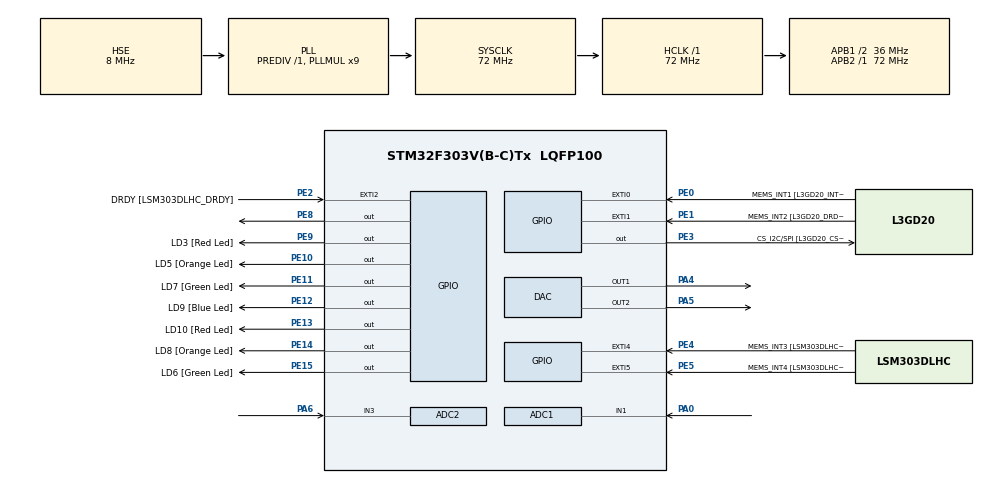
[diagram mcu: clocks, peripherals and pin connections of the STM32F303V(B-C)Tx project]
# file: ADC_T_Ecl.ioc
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ADC1.Channel-21\#ChannelRegularConversion=ADC_CHANNEL_1
ADC1.ClockPrescaler=ADC_CLOCK_ASYNC_DIV1
ADC1.ContinuousConvMode=DISABLE
ADC1.DMAContinuousRequests=ENABLE
ADC1.DataAlign=ADC_DATAALIGN_RIGHT
ADC1.DiscontinuousConvMode=DISABLE
ADC1.EOCSelection=ADC_EOC_SINGLE_CONV
ADC1.EnableAnalogWatchDog1=false
ADC1.EnableAnalogWatchDog2=false
ADC1.EnableAnalogWatchDog3=false
ADC1.EnableInjectedConversion=DISABLE
ADC1.EnableRegularConversion=ENABLE
ADC1.ExternalTrigConv=ADC_EXTERNALTRIGCONV_T1_TRGO
ADC1.ExternalTrigConvEdge=ADC_EXTERNALTRIGCONVEDGE_RISING
ADC1.LowPowerAutoWait=DISABLE
ADC1.Mode=ADC_DUALMODE_REGSIMULT
ADC1.NbrOfConversion=1
ADC1.NbrOfConversionFlag=1
ADC1.Offset-21\#ChannelRegularConversion=0
ADC1.OffsetNumber-21\#ChannelRegularConversion=ADC_OFFSET_NONE
ADC1.Overrun=ADC_OVR_DATA_OVERWRITTEN
ADC1.Rank-21\#ChannelRegularConversion=1
ADC1.Resolution=ADC_RESOLUTION_12B
ADC1.SamplingTime-21\#ChannelRegularConversion=ADC_SAMPLETIME_1CYCLE_5
ADC1.ScanConvMode=ADC_SCAN_DISABLE
ADC1.master=1
ADC2.Channel-4\#ChannelRegularConversion=ADC_CHANNEL_3
ADC2.ContinuousConvMode=DISABLE
ADC2.DMAContinuousRequests=DISABLE
ADC2.DataAlign=ADC_DATAALIGN_RIGHT
ADC2.DiscontinuousConvMode=DISABLE
ADC2.EOCSelection=ADC_EOC_SINGLE_CONV
ADC2.EnableAnalogWatchDog1=false
ADC2.EnableAnalogWatchDog2=false
ADC2.EnableAnalogWatchDog3=false
ADC2.EnableInjectedConversion=ENABLE
ADC2.EnableRegularConversion=ENABLE
ADC2.InjNumberOfConversion=0
ADC2.LowPowerAutoWait=DISABLE
ADC2.Mode=ADC_DUALMODE_REGSIMULT
ADC2.NbrOfConversion=1
ADC2.NbrOfConversionFlag=1
ADC2.Offset-4\#ChannelRegularConversion=0
ADC2.OffsetNumber-4\#ChannelRegularConversion=ADC_OFFSET_NONE
ADC2.Overrun=ADC_OVR_DATA_OVERWRITTEN
ADC2.Rank-4\#ChannelRegularConversion=1
ADC2.Resolution=ADC_RESOLUTION_12B
ADC2.SamplingTime-4\#ChannelRegularConversion=ADC_SAMPLETIME_1CYCLE_5
ADC2.ScanConvMode=ADC_SCAN_DISABLE
DAC.DAC_Trigger=DAC_TRIGGER_T6_TRGO
DAC.DAC_Trigger2=DAC_TRIGGER_T6_TRGO
Dma.ADC1.2.Direction=DMA_PERIPH_TO_MEMORY
Dma.ADC1.2.Instance=DMA1_Channel1
Dma.ADC1.2.MemDataAlignment=DMA_MDATAALIGN_WORD
Dma.ADC1.2.MemInc=DMA_MINC_ENABLE
Dma.ADC1.2.Mode=DMA_CIRCULAR
Dma.ADC1.2.PeriphDataAlignment=DMA_PDATAALIGN_WORD
Dma.ADC1.2.PeriphInc=DMA_PINC_DISABLE
Dma.ADC1.2.Priority=DMA_PRIORITY_HIGH
Dma.DAC_CH1.0.Direction=DMA_MEMORY_TO_PERIPH
Dma.DAC_CH1.0.Instance=DMA1_Channel3
Dma.DAC_CH1.0.MemDataAlignment=DMA_MDATAALIGN_HALFWORD
Dma.DAC_CH1.0.MemInc=DMA_MINC_ENABLE
Dma.DAC_CH1.0.Mode=DMA_CIRCULAR
Dma.DAC_CH1.0.PeriphDataAlignment=DMA_PDATAALIGN_HALFWORD
Dma.DAC_CH1.0.PeriphInc=DMA_PINC_DISABLE
Dma.DAC_CH1.0.Priority=DMA_PRIORITY_LOW
Dma.DAC_CH2.1.Direction=DMA_MEMORY_TO_PERIPH
Dma.DAC_CH2.1.Instance=DMA1_Channel4
Dma.DAC_CH2.1.MemDataAlignment=DMA_MDATAALIGN_HALFWORD
Dma.DAC_CH2.1.MemInc=DMA_MINC_ENABLE
Dma.DAC_CH2.1.Mode=DMA_CIRCULAR
Dma.DAC_CH2.1.PeriphDataAlignment=DMA_PDATAALIGN_HALFWORD
Dma.DAC_CH2.1.PeriphInc=DMA_PINC_DISABLE
Dma.DAC_CH2.1.Priority=DMA_PRIORITY_LOW
Dma.Request0=DAC_CH1
Dma.Request1=DAC_CH2
Dma.Request2=ADC1
Mcu.Family=STM32F3
Mcu.Name=STM32F303V(B-C)Tx
Mcu.Package=LQFP100
NVIC.ADC1_2_IRQn=true\:0\:0\:false\:false\:true\:true
NVIC.DMA1_Channel1_IRQn=true\:0\:0\:false\:false\:true\:false
NVIC.DMA1_Channel3_IRQn=true\:0\:0\:false\:false\:true\:false
NVIC.DMA1_Channel4_IRQn=true\:0\:0\:false\:false\:true\:false
NVIC.PriorityGroup=NVIC_PRIORITYGROUP_0
PA0.Mode=IN1-Single-Ended
PA0.Signal=ADC1_IN1
PA11.GPIO_Label=DM
PA11.Signal=USB_DM
PA12.GPIO_Label=DP
PA12.Signal=USB_DP
PA13.GPIO_Label=SWDIO
PA13.Mode=Serial_Wire
PA13.Signal=SYS_JTMS-SWDIO
PA14.GPIO_Label=SWCLK
PA14.Mode=Serial_Wire
PA14.Signal=SYS_JTCK-SWCLK
PA4.Signal=COMP_DAC1_group
PA5.Signal=COMP_DAC2_group
PA6.Mode=IN3-Single-Ended
PA6.Signal=ADC2_IN3
PB3.GPIO_Label=SWO
PB3.Signal=SYS_JTDO-TRACESWO
PB6.GPIO_Label=I2C1_SCL [LSM303DLHC_SCL]
PB6.Signal=I2C1_SCL
PB7.GPIO_Label=I2C1_SDA [LSM303DLHC_SDA]
PB7.Signal=I2C1_SDA
PC14-OSC32_IN.GPIO_Label=OSC32_IN
PC14-OSC32_IN.Signal=RCC_OSC32_IN
PC15-OSC32_OUT.GPIO_Label=OSC32_OUT
PC15-OSC32_OUT.Signal=RCC_OSC32_OUT
PE0.GPIO_Label=MEMS_INT1 [L3GD20_INT1]
PE0.GPIO_ModeDefaultEXTI=GPIO_MODE_EVT_RISING
PE0.Signal=GPXTI0
PE1.GPIO_Label=MEMS_INT2 [L3GD20_DRDY/INT2]
PE1.GPIO_ModeDefaultEXTI=GPIO_MODE_EVT_RISING
PE1.Signal=GPXTI1
PE10.GPIO_Label=LD5 [Orange Led]
PE10.Signal=GPIO_Output
PE11.GPIO_Label=LD7 [Green Led]
PE11.Signal=GPIO_Output
PE12.GPIO_Label=LD9 [Blue Led]
PE12.Signal=GPIO_Output
PE13.GPIO_Label=LD10 [Red Led]
PE13.Signal=GPIO_Output
PE14.GPIO_Label=LD8 [Orange Led]
PE14.Signal=GPIO_Output
PE15.GPIO_Label=LD6 [Green Led]
PE15.Signal=GPIO_Output
PE2.GPIO_Label=DRDY [LSM303DLHC_DRDY]
PE2.GPIO_ModeDefaultEXTI=GPIO_MODE_EVT_RISING
PE2.Signal=GPXTI2
PE3.GPIO_Label=CS_I2C/SPI [L3GD20_CS_I2C/SPI]
PE3.Signal=GPIO_Output
PE4.GPIO_Label=MEMS_INT3 [LSM303DLHC_INT1]
PE4.GPIO_ModeDefaultEXTI=GPIO_MODE_EVT_RISING
PE4.Signal=GPXTI4
PE5.GPIO_Label=MEMS_INT4 [LSM303DLHC_INT2]
PE5.GPIO_ModeDefaultEXTI=GPIO_MODE_EVT_RISING
PE5.Signal=GPXTI5
PE8.GPIO_Speed=GPIO_SPEED_FREQ_HIGH
PE8.Signal=GPIO_Output
PE9.GPIO_Label=LD3 [Red Led]
PE9.Signal=GPIO_Output
PF0-OSC_IN.GPIO_Label=OSC_IN
PF0-OSC_IN.Mode=HSE-External-Clock-Source
PF0-OSC_IN.Signal=RCC_OSC_IN
PF1-OSC_OUT.GPIO_Label=OSC_OUT
PF1-OSC_OUT.Signal=RCC_OSC_OUT
ProjectManager.HeapSize=0x200
ProjectManager.StackSize=0x400
ProjectManager.TargetToolchain=SW4STM32
RCC.AHBFreq_Value=72000000
RCC.APB1CLKDivider=RCC_HCLK_DIV2
RCC.APB1Freq_Value=36000000
RCC.APB1TimFreq_Value=72000000
RCC.APB2Freq_Value=72000000
RCC.APB2TimFreq_Value=72000000
RCC.CortexFreq_Value=72000000
RCC.HCLKFreq_Value=72000000
RCC.HSE_VALUE=8000000
RCC.HSI_VALUE=8000000
RCC.LSE_VALUE=32768
RCC.PLLMUL=RCC_PLL_MUL9
RCC.PLLSourceVirtual=RCC_PLLSOURCE_HSE
RCC.PRESCALERUSB=RCC_USBCLKSOURCE_PLL_DIV1_5
RCC.SYSCLKFreq_VALUE=72000000
RCC.SYSCLKSourceVirtual=RCC_SYSCLKSOURCE_PLLCLK
RCC.USBFreq_Value=48000000
SH.COMP_DAC1_group.0=DAC_OUT1,DAC_OUT1
SH.COMP_DAC2_group.0=DAC_OUT2,Enable_DAC_OUT2
TIM1.Period=7190
TIM1.TIM_MasterOutputTrigger=TIM_TRGO_UPDATE
TIM6.Period=112
TIM6.TIM_MasterOutputTrigger=TIM_TRGO_UPDATE
VP_TIM1_VS_ClockSourceINT.Mode=Internal
VP_TIM6_VS_ClockSourceINT.Mode=Enable_Timer
board=STM32F3DISCOVERY

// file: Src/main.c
/**
  ******************************************************************************
  * @file           : main.c
  * @brief          : Main program body
  ******************************************************************************
  ** This notice applies to any and all portions of this file
  * that are not between comment pairs USER CODE BEGIN and
  * USER CODE END. Other portions of this file, whether
  * inserted by the user or by software development tools
  * are owned by their respective copyright owners.
  *
  * COPYRIGHT(c) 2018 STMicroelectronics
  *
  * Redistribution and use in source and binary forms, with or without modification,
  * are permitted provided that the following conditions are met:
  *   1. Redistributions of source code must retain the above copyright notice,
  *      this list of conditions and the following disclaimer.
  *   2. Redistributions in binary form must reproduce the above copyright notice,
  *      this list of conditions and the following disclaimer in the documentation
  *      and/or other materials provided with the distribution.
  *   3. Neither the name of STMicroelectronics nor the names of its contributors
  *      may be used to endorse or promote products derived from this software
  *      without specific prior written permission.
  *
  * THIS SOFTWARE IS PROVIDED BY THE COPYRIGHT HOLDERS AND CONTRIBUTORS "AS IS"
  * AND ANY EXPRESS OR IMPLIED WARRANTIES, INCLUDING, BUT NOT LIMITED TO, THE
  * IMPLIED WARRANTIES OF MERCHANTABILITY AND FITNESS FOR A PARTICULAR PURPOSE ARE
  * DISCLAIMED. IN NO EVENT SHALL THE COPYRIGHT HOLDER OR CONTRIBUTORS BE LIABLE
  * FOR ANY DIRECT, INDIRECT, INCIDENTAL, SPECIAL, EXEMPLARY, OR CONSEQUENTIAL
  * DAMAGES (INCLUDING, BUT NOT LIMITED TO, PROCUREMENT OF SUBSTITUTE GOODS OR
  * SERVICES; LOSS OF USE, DATA, OR PROFITS; OR BUSINESS INTERRUPTION) HOWEVER
  * CAUSED AND ON ANY THEORY OF LIABILITY, WHETHER IN CONTRACT, STRICT LIABILITY,
  * OR TORT (INCLUDING NEGLIGENCE OR OTHERWISE) ARISING IN ANY WAY OUT OF THE USE
  * OF THIS SOFTWARE, EVEN IF ADVISED OF THE POSSIBILITY OF SUCH DAMAGE.
  *
  ******************************************************************************
  */
#include "main.h"
#include "stm32f3xx_hal.h"
#include "adc.h"
#include "dac.h"
#include "dma.h"
#include "tim.h"
#include "gpio.h"

/* USER CODE BEGIN Includes */
#define ARM_MATH_CM4
#include<arm_math.h>
/* USER CODE END Includes */

/* USER CODE BEGIN PV */
/* Private variables ---------------------------------------------------------*/

/* USER CODE END PV */

void SystemClock_Config(void);

/* USER CODE BEGIN PFP */
/* Private function prototypes -----------------------------------------------*/
#define DACSAMPLE 32
#define ADCDAMPLE 100
void Set_DAC_Freq(uint32_t );
void Set_ADC_Freq(uint32_t );
void Sin_Gen(void);
uint16_t NUM_SAMPLES_DAC =DACSAMPLE;
uint16_t NUM_SAMPLES_ADC =ADCDAMPLE;

/* USER CODE END PFP */

/* USER CODE BEGIN 0 */
uint32_t ADC1ConvertedValues[ADCDAMPLE];
uint16_t Sine_Lut[DACSAMPLE], Sine_Lut_180[DACSAMPLE];
/* USER CODE END 0 */

int main(void)
{

  /* MCU Configuration----------------------------------------------------------*/

  /* Reset of all peripherals, Initializes the Flash interface and the Systick. */
  HAL_Init();

  /* USER CODE BEGIN Init */
  Sin_Gen();//Generates Sine wave

  /* USER CODE END Init */

  /* Configure the system clock */
  SystemClock_Config();

  /* Initialize all configured peripherals */
  MX_GPIO_Init();
  MX_DMA_Init();
  MX_DAC_Init();
  MX_TIM6_Init();
  MX_ADC1_Init();
  MX_ADC2_Init();
  MX_TIM1_Init();

  /* USER CODE BEGIN 2 */
  Set_DAC_Freq(15000);
  Set_ADC_Freq(100000);
  //HAL_ADC_Start_DMA(&hadc1, (uint32_t*)ADC1ConvertedValues, 2048);

  //HAL_ADCEx_MultiModeStart_DMA(&hadc1, ADC1ConvertedValues, sizeof(ADC1ConvertedValues));
    HAL_DAC_Start(&hdac,DAC_CHANNEL_1);
    HAL_DAC_Start_DMA(&hdac, DAC_CHANNEL_1, (uint32_t*)Sine_Lut, NUM_SAMPLES_DAC, DAC_ALIGN_12B_R);
    HAL_DAC_Start_DMA(&hdac, DAC_CHANNEL_2, (uint32_t*)Sine_Lut_180, NUM_SAMPLES_DAC, DAC_ALIGN_12B_R);
    HAL_ADCEx_Calibration_Start(&hadc1, ADC_SINGLE_ENDED);
    HAL_ADCEx_Calibration_Start(&hadc2, ADC_SINGLE_ENDED);
    HAL_ADCEx_MultiModeStart_DMA(&hadc1, ADC1ConvertedValues, sizeof(ADC1ConvertedValues));
    //HAL_ADC_Start_DMA(&hadc1, (uint32_t*) ADC1ConvertedValues, sizeof(ADC1ConvertedValues));
    HAL_TIM_Base_Start(&htim6);
    HAL_TIM_Base_Start(&htim1);
  /* USER CODE END 2 */

  /* Infinite loop */
  while (1)
  {

  }

}

void SystemClock_Config(void)
{

  RCC_OscInitTypeDef RCC_OscInitStruct;
  RCC_ClkInitTypeDef RCC_ClkInitStruct;
  RCC_PeriphCLKInitTypeDef PeriphClkInit;

    /**Initializes the CPU, AHB and APB busses clocks
    */
  RCC_OscInitStruct.OscillatorType = RCC_OSCILLATORTYPE_HSE;
  RCC_OscInitStruct.HSEState = RCC_HSE_BYPASS;
  RCC_OscInitStruct.HSEPredivValue = RCC_HSE_PREDIV_DIV1;
  RCC_OscInitStruct.HSIState = RCC_HSI_ON;
  RCC_OscInitStruct.PLL.PLLState = RCC_PLL_ON;
  RCC_OscInitStruct.PLL.PLLSource = RCC_PLLSOURCE_HSE;
  RCC_OscInitStruct.PLL.PLLMUL = RCC_PLL_MUL9;
  if (HAL_RCC_OscConfig(&RCC_OscInitStruct) != HAL_OK)
  {
    _Error_Handler(__FILE__, __LINE__);
  }

    /**Initializes the CPU, AHB and APB busses clocks
    */
  RCC_ClkInitStruct.ClockType = RCC_CLOCKTYPE_HCLK|RCC_CLOCKTYPE_SYSCLK
                              |RCC_CLOCKTYPE_PCLK1|RCC_CLOCKTYPE_PCLK2;
  RCC_ClkInitStruct.SYSCLKSource = RCC_SYSCLKSOURCE_PLLCLK;
  RCC_ClkInitStruct.AHBCLKDivider = RCC_SYSCLK_DIV1;
  RCC_ClkInitStruct.APB1CLKDivider = RCC_HCLK_DIV2;
  RCC_ClkInitStruct.APB2CLKDivider = RCC_HCLK_DIV1;

  if (HAL_RCC_ClockConfig(&RCC_ClkInitStruct, FLASH_LATENCY_2) != HAL_OK)
  {
    _Error_Handler(__FILE__, __LINE__);
  }

  PeriphClkInit.PeriphClockSelection = RCC_PERIPHCLK_TIM1|RCC_PERIPHCLK_ADC12;
  PeriphClkInit.Adc12ClockSelection = RCC_ADC12PLLCLK_DIV1;
  PeriphClkInit.Tim1ClockSelection = RCC_TIM1CLK_HCLK;
  if (HAL_RCCEx_PeriphCLKConfig(&PeriphClkInit) != HAL_OK)
  {
    _Error_Handler(__FILE__, __LINE__);
  }

    /**Configure the Systick interrupt time
    */
  HAL_SYSTICK_Config(HAL_RCC_GetHCLKFreq()/1000);

    /**Configure the Systick
    */
  HAL_SYSTICK_CLKSourceConfig(SYSTICK_CLKSOURCE_HCLK);

  /* SysTick_IRQn interrupt configuration */
  HAL_NVIC_SetPriority(SysTick_IRQn, 0, 0);
}

/* USER CODE BEGIN 4 */

void Sin_Gen()
{

  	for (int i=0; i< NUM_SAMPLES_DAC; i++)
  	{

  		Sine_Lut[i] = (0.8*cosf(((2*PI)/NUM_SAMPLES_DAC)*i)+1)*682;

  		Sine_Lut_180[i] = (0.8*cosf(i*2*PI/NUM_SAMPLES_DAC+PI)+1)*682;

  	}

}
void Set_DAC_Freq(uint32_t freq)
{
uint32_t	time ;
time=(RCC_FREQ/(NUM_SAMPLES_DAC*freq))-1;
htim6.Init.Period=time;
if (HAL_TIM_Base_Init(&htim6) != HAL_OK)
 {
   _Error_Handler(__FILE__, __LINE__);
 }

}
void Set_ADC_Freq(uint32_t freq)
{
	 uint32_t	time ;
time=(RCC_FREQ/(freq))-1;
htim1.Init.Period=time;
if (HAL_TIM_Base_Init(&htim1) != HAL_OK)
 {
   _Error_Handler(__FILE__, __LINE__);
 }
}
void HAL_ADC_ConvCpltCallback(ADC_HandleTypeDef* hadc)
{
  /* Prevent unused argument(s) compilation warning */
  UNUSED(hadc);
  if(hadc->Instance==ADC1)
   {
	 HAL_ADC_Stop_DMA(&hadc1);
   }
  /* NOTE : This function should not be modified. When the callback is needed,
            function HAL_ADC_ConvCpltCallback must be implemented in the user file.
   */
}
/* USER CODE END 4 */

void _Error_Handler(char *file, int line)
{
  while(1)
  {
  }
}

/************************ (C) COPYRIGHT STMicroelectronics *****END OF FILE****/
